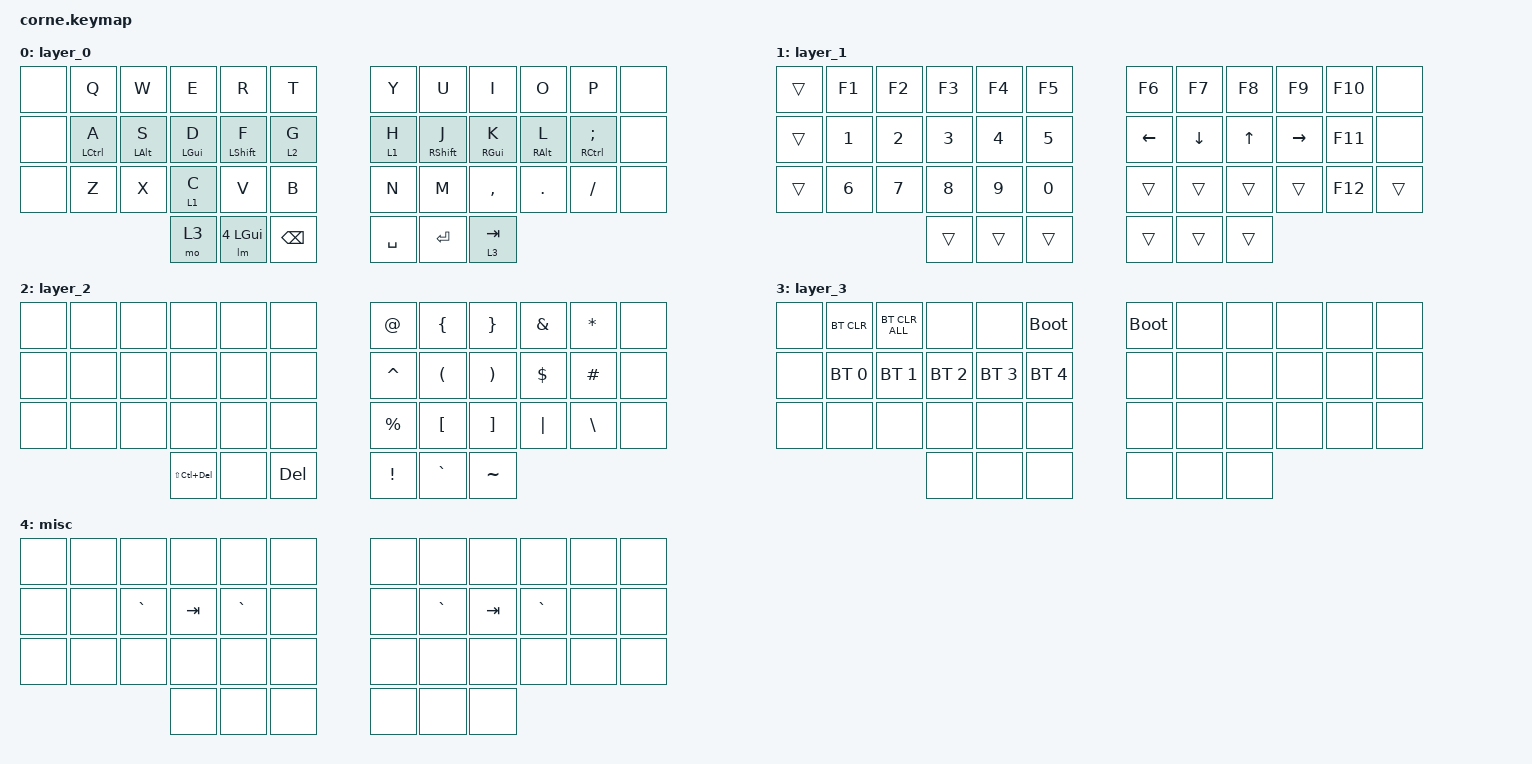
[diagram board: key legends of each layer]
/*
 * Copyright (c) 2020 The ZMK Contributors
 *
 * SPDX-License-Identifier: MIT
 */

#include <behaviors.dtsi>
#include <dt-bindings/zmk/bt.h>
#include <dt-bindings/zmk/keys.h>

/ {
    macros {
        /**
         * Temporarily switches to a layer (`&mo`) while a modifier is held.
         * Analogous to QMK's `LM()`, using a parameterized macro.
         *
         * Params:
         *  1. Layer to switch to
         *  2. Modifier to press while layer is active
         *
         * Example:
         *  `&lm NUM_LAYER LSHIFT`
         */

        lm: lm {
            compatible = "zmk,behavior-macro-two-param";
            wait-ms = <0>;
            tap-ms = <0>;
            #binding-cells = <2>;
            bindings =
                <&macro_param_1to1>,
                <&macro_press>,
                <&mo MACRO_PLACEHOLDER &macro_param_2to1>,
                <&macro_press>,
                <&kp MACRO_PLACEHOLDER>,
                <&macro_pause_for_release>,
                <&macro_param_2to1>,
                <&macro_release>,
                <&kp MACRO_PLACEHOLDER &macro_param_1to1>,
                <&macro_release>,
                <&mo MACRO_PLACEHOLDER>;
        };
    };

    behaviors {
        HML: HML {
            compatible = "zmk,behavior-hold-tap";
            label = "HML";
            bindings = <&kp>, <&kp>;

            #binding-cells = <2>;
            tapping-term-ms = <200>;
            quick-tap-ms = <175>;
            flavor = "tap-preferred";
            hold-trigger-on-release;
            hold-trigger-key-positions = <36 37 38 39 40 41 30 32 31 18 6 7 8 9 10 11 23 22 21 20 19 33 34 35>;
        };

        HMR: HMR {
            compatible = "zmk,behavior-hold-tap";
            label = "HMR_RIGHT";
            bindings = <&kp>, <&kp>;

            #binding-cells = <2>;
            tapping-term-ms = <200>;
            quick-tap-ms = <175>;
            flavor = "tap-preferred";
            hold-trigger-on-release;
            hold-trigger-key-positions = <36 37 38 39 40 41 24 12 0 1 2 3 5 4 17 16 15 14 13 25 26 27 28 29>;
        };
    };

    combos {
        compatible = "zmk,combos";

        combo_tab {
            bindings = <&kp TAB>;
            key-positions = <27 28>;
        };

        combo_enter {
            bindings = <&kp ENTER>;
            key-positions = <38 39>;
        };

        combo_minus {
            bindings = <&kp MINUS>;
            key-positions = <10 39>;
        };

        combo_equals {
            bindings = <&kp EQUAL>;
            key-positions = <39 21>;
        };

        combo_quote {
            bindings = <&kp SINGLE_QUOTE>;
            key-positions = <39 22>;
        };

        combo_enter_2 {
            bindings = <&kp ENTER>;
            key-positions = <7 8 9>;
        };

        comgo_enter_3 {
            bindings = <&kp ENTER>;
            key-positions = <28 26>;
        };

        combo_tab_2 {
            bindings = <&kp TAB>;
            key-positions = <32 33>;
        };

        escape_2 {
            bindings = <&kp ESCAPE>;
            key-positions = <26 27>;
        };

        combo_tilde {
            bindings = <&kp TILDE>;
            key-positions = <39 34>;
        };

        combo_tab_4 {
            bindings = <&kp TAB>;
            key-positions = <7 19>;
        };

        combo_escape_1 {
            bindings = <&kp ESCAPE>;
            key-positions = <3 8>;
        };

        combo_enter_4 {
            bindings = <&kp ENTER>;
            key-positions = <18 6>;
        };

        combo_tab_5 {
            bindings = <&kp TAB>;
            key-positions = <4 16>;
        };
    };

    keymap {
        compatible = "zmk,keymap";

        default_layer {
            // -----------------------------------------------------------------------------------------
            // |  TAB |  Q  |  W  |  E  |  R  |  T  |   |  Y  |  U   |  I  |  O  |  P  | BKSP |
            // | CTRL |  A  |  S  |  D  |  F  |  G  |   |  H  |  J   |  K  |  L  |  ;  |  '   |
            // | SHFT |  Z  |  X  |  C  |  V  |  B  |   |  N  |  M   |  ,  |  .  |  /  | ESC  |
            //                    | GUI | LWR | SPC |   | ENT | RSE  | ALT |

            display-name = "layer_0";
            bindings = <
&none  &kp Q                &kp W            &kp E            &kp R              &kp T            &kp Y      &kp U               &kp I             &kp O             &kp P                    &none
&none  &HML LEFT_CONTROL A  &HML LEFT_ALT S  &HML LEFT_GUI D  &HML LEFT_SHIFT F  &lt 2 G          &lt 1 H    &HMR RIGHT_SHIFT J  &HMR RIGHT_GUI K  &HMR RIGHT_ALT L  &HMR RIGHT_CONTROL SEMI  &none
&none  &kp Z                &kp X            &lt 1 C          &kp V              &kp B            &kp N      &kp M               &kp COMMA         &kp DOT           &kp SLASH                &none
                                             &mo 3            &lm 4 LGUI         &kp BACKSPACE    &kp SPACE  &kp ENTER           &lt 3 TAB
            >;
        };

        layer_1 {
            display-name = "layer_1";
            bindings = <
&trans  &kp F1        &kp F2        &kp F3        &kp F4        &kp F5          &kp F6    &kp F7    &kp F8  &kp F9     &kp F10  &none
&trans  &kp NUMBER_1  &kp NUMBER_2  &kp NUMBER_3  &kp NUMBER_4  &kp NUMBER_5    &kp LEFT  &kp DOWN  &kp UP  &kp RIGHT  &kp F11  &none
&trans  &kp NUMBER_6  &kp NUMBER_7  &kp NUMBER_8  &kp NUMBER_9  &kp NUMBER_0    &trans    &trans    &trans  &trans     &kp F12  &trans
                                    &trans        &trans        &trans          &trans    &trans    &trans
            >;
        };

        layer_2 {
            // -----------------------------------------------------------------------------------------
            // |  TAB |  !  |  @  |  #  |  $  |  %  |   |  ^  |  &  |  *  |  (  |  )  | BKSP |
            // | CTRL |     |     |     |     |     |   |  -  |  =  |  [  |  ]  |  \  |  `   |
            // | SHFT |     |     |     |     |     |   |  _  |  +  |  {  |  }  | "|" |  ~   |
            //                    | GUI |     | SPC |   | ENT |     | ALT |

            display-name = "layer_2";
            bindings = <
&none  &none  &none  &none               &none  &none         &kp AT           &kp LEFT_BRACE        &kp RIGHT_BRACE        &kp AMPERSAND  &kp ASTERISK   &none
&none  &none  &none  &none               &none  &none         &kp CARET        &kp LEFT_PARENTHESIS  &kp RIGHT_PARENTHESIS  &kp DOLLAR     &kp HASH       &none
&none  &none  &none  &none               &none  &none         &kp PRCNT        &kp LEFT_BRACKET      &kp RIGHT_BRACKET      &kp PIPE       &kp BACKSLASH  &none
                     &kp LS(LC(DELETE))  &none  &kp DELETE    &kp EXCLAMATION  &kp GRAVE             &kp TILDE
            >;
        };

        bluetooth {
            display-name = "layer_3";
            bindings = <
&none  &bt BT_CLR    &bt BT_CLR_ALL  &none         &none         &bootloader     &bootloader  &none  &none  &none  &none  &none
&none  &bt BT_SEL 0  &bt BT_SEL 1    &bt BT_SEL 2  &bt BT_SEL 3  &bt BT_SEL 4    &none        &none  &none  &none  &none  &none
&none  &none         &none           &none         &none         &none           &none        &none  &none  &none  &none  &none
                                     &none         &none         &none           &none        &none  &none
            >;
        };

        misc {
            bindings = <
&none  &none  &none      &none    &none      &none    &none  &none      &none    &none      &none  &none
&none  &none  &kp GRAVE  &kp TAB  &kp GRAVE  &none    &none  &kp GRAVE  &kp TAB  &kp GRAVE  &none  &none
&none  &none  &none      &none    &none      &none    &none  &none      &none    &none      &none  &none
                         &none    &none      &none    &none  &none      &none
            >;
        };
    };
};
